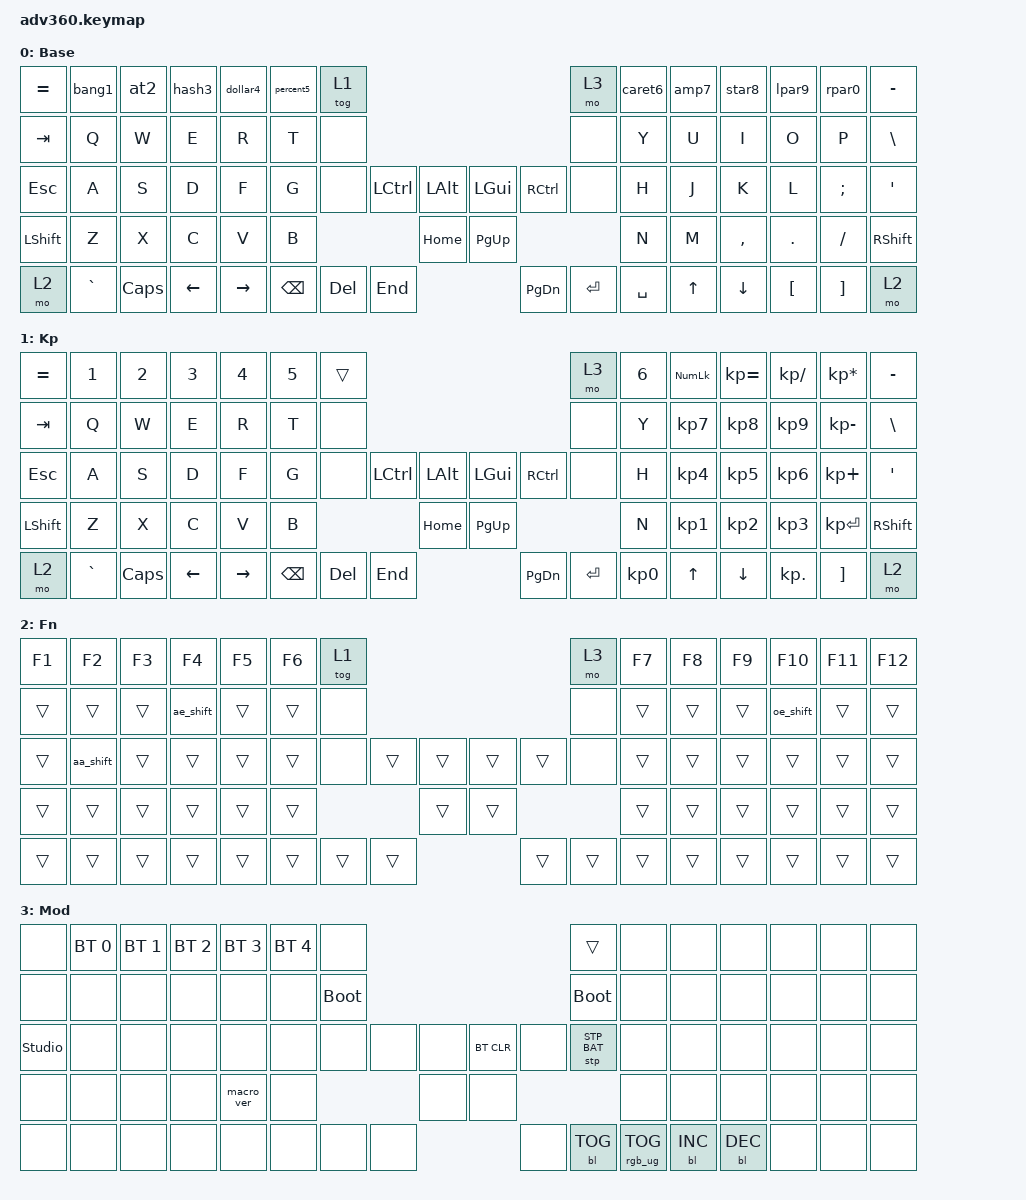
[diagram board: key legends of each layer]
#include <behaviors.dtsi>
#include "unicode.dtsi"
#include <dt-bindings/zmk/keys.h>
#include <dt-bindings/zmk/bt.h>
#include <dt-bindings/zmk/rgb.h>
#include <dt-bindings/zmk/stp.h>
#include <dt-bindings/zmk/backlight.h>
#include <dt-bindings/zmk/pointing.h>

/ {

    behaviors {
      #include "macros.dtsi"
      #include "version.dtsi"

      hm: homerow_mods {
          compatible = "zmk,behavior-hold-tap";
          label = "HOMEROW_MODS";
          #binding-cells = <2>;
          tapping-term-ms = <200>;
          quick_tap_ms = <175>;
          flavor = "tap-preferred";
          bindings = <&kp>, <&kp>;
      };
    // --- Number row reversed ---
    bang1: bang1 {
      compatible = "zmk,behavior-mod-morph";
      #binding-cells = <0>;
      bindings = <&kp EXCL>, <&kp N1>;
      mods = <(MOD_LSFT | MOD_RSFT)>;
    };
    at2: at2 {
      compatible = "zmk,behavior-mod-morph";
      #binding-cells = <0>;
      bindings = <&kp AT>, <&kp N2>;
      mods = <(MOD_LSFT | MOD_RSFT)>;
    };
    hash3: hash3 {
      compatible = "zmk,behavior-mod-morph";
      #binding-cells = <0>;
      bindings = <&kp HASH>, <&kp N3>;
      mods = <(MOD_LSFT | MOD_RSFT)>;
    };
    dollar4: dollar4 {
      compatible = "zmk,behavior-mod-morph";
      #binding-cells = <0>;
      bindings = <&kp DLLR>, <&kp N4>;
      mods = <(MOD_LSFT | MOD_RSFT)>;
    };
    percent5: percent5 {
      compatible = "zmk,behavior-mod-morph";
      #binding-cells = <0>;
      bindings = <&kp PRCNT>, <&kp N5>;
      mods = <(MOD_LSFT | MOD_RSFT)>;
    };
    caret6: caret6 {
      compatible = "zmk,behavior-mod-morph";
      #binding-cells = <0>;
      bindings = <&kp CARET>, <&kp N6>;
      mods = <(MOD_LSFT | MOD_RSFT)>;
    };
    amp7: amp7 {
      compatible = "zmk,behavior-mod-morph";
      #binding-cells = <0>;
      bindings = <&kp AMPS>, <&kp N7>;
      mods = <(MOD_LSFT | MOD_RSFT)>;
    };
    star8: star8 {
      compatible = "zmk,behavior-mod-morph";
      #binding-cells = <0>;
      bindings = <&kp ASTRK>, <&kp N8>;
      mods = <(MOD_LSFT | MOD_RSFT)>;
    };
    lpar9: lpar9 {
      compatible = "zmk,behavior-mod-morph";
      #binding-cells = <0>;
      bindings = <&kp LPAR>, <&kp N9>;
      mods = <(MOD_LSFT | MOD_RSFT)>;
    };
    rpar0: rpar0 {
      compatible = "zmk,behavior-mod-morph";
      #binding-cells = <0>;
      bindings = <&kp RPAR>, <&kp N0>;
      mods = <(MOD_LSFT | MOD_RSFT)>;
    };
// Lowercase Macros
ae_macro_combined: ae_macro_combined {
    compatible = "zmk,behavior-macro";
    #binding-cells = <0>;
    bindings = <&macro_press &kp LALT>, <&macro_wait_time 5>,
               <&macro_tap &kp KP_N0 &kp KP_N2 &kp KP_N3 &kp KP_N0>,
               <&macro_wait_time 5>, <&macro_release &kp LALT>;
};
oe_macro_combined: oe_macro_combined {
    compatible = "zmk,behavior-macro";
    #binding-cells = <0>;
    bindings = <&macro_press &kp LALT>, <&macro_wait_time 5>,
               <&macro_tap &kp KP_N0 &kp KP_N2 &kp KP_N4 &kp KP_N8>,
               <&macro_wait_time 5>, <&macro_release &kp LALT>;
};
aa_macro_combined: aa_macro_combined {
    compatible = "zmk,behavior-macro";
    #binding-cells = <0>;
    bindings = <&macro_press &kp LALT>, <&macro_wait_time 5>,
               <&macro_tap &kp KP_N0 &kp KP_N2 &kp KP_N2 &kp KP_N9>,
               <&macro_wait_time 5>, <&macro_release &kp LALT>;
};
// Uppercase Macros
ae_upper_macro_combined: ae_upper_macro_combined {
    compatible = "zmk,behavior-macro";
    #binding-cells = <0>;
    bindings = <&macro_press &kp LALT>, <&macro_wait_time 5>,
               <&macro_tap &kp KP_N0 &kp KP_N1 &kp KP_N9 &kp KP_N8>,
               <&macro_wait_time 5>, <&macro_release &kp LALT>;
};
oe_upper_macro_combined: oe_upper_macro_combined {
    compatible = "zmk,behavior-macro";
    #binding-cells = <0>;
    bindings = <&macro_press &kp LALT>, <&macro_wait_time 5>,
               <&macro_tap &kp KP_N0 &kp KP_N2 &kp KP_N1 &kp KP_N6>,
               <&macro_wait_time 5>, <&macro_release &kp LALT>;
};
aa_upper_macro_combined: aa_upper_macro_combined {
    compatible = "zmk,behavior-macro";
    #binding-cells = <0>;
    bindings = <&macro_press &kp LALT>, <&macro_wait_time 5>,
               <&macro_tap &kp KP_N0 &kp KP_N1 &kp KP_N9 &kp KP_N7>,
               <&macro_wait_time 5>, <&macro_release &kp LALT>;
};
// --- Mod-Morph behaviors to handle Shift for Danish letters ---
ae_shift: ae_shift {
    compatible = "zmk,behavior-mod-morph";
    #binding-cells = <0>;
    bindings = <&ae_macro_combined>, <&ae_upper_macro_combined>;
    mods = <(MOD_LSFT|MOD_RSFT)>;
};
oe_shift: oe_shift {
    compatible = "zmk,behavior-mod-morph";
    #binding-cells = <0>;
    bindings = <&oe_macro_combined>, <&oe_upper_macro_combined>;
    mods = <(MOD_LSFT|MOD_RSFT)>;
};
aa_shift: aa_shift {
    compatible = "zmk,behavior-mod-morph";
    #binding-cells = <0>;
    bindings = <&aa_macro_combined>, <&aa_upper_macro_combined>;
    mods = <(MOD_LSFT|MOD_RSFT)>;
};

};

  keymap {
    compatible = "zmk,keymap";

    default_layer {
      display-name = "Base";
      bindings = <
        &kp EQUAL &bang1    &at2     &hash3   &dollar4   &percent5 &tog 1                                                        &mo 3 &caret6 &amp7 &star8    &lpar9   &rpar0   &kp MINUS
        &kp TAB   &kp Q     &kp W    &kp E    &kp R      &kp T  &none                                                            &none &kp Y  &kp U  &kp I     &kp O    &kp P    &kp BSLH
        &kp ESC   &kp A     &kp S    &kp D    &kp F      &kp G  &none           &kp LCTRL &kp LALT &kp LGUI  &kp RCTRL           &none &kp H  &kp J  &kp K     &kp L    &kp SEMI &kp SQT
        &kp LSHFT &kp Z     &kp X    &kp C    &kp V      &kp B                            &kp HOME &kp PG_UP                           &kp N  &kp M  &kp COMMA &kp DOT  &kp FSLH &kp RSHFT
        &mo 2     &kp GRAVE &kp CAPS &kp LEFT &kp RIGHT                &kp BSPC &kp DEL   &kp END  &kp PG_DN &kp ENTER &kp SPACE              &kp UP &kp DOWN  &kp LBKT &kp RBKT &mo 2
      >;
    };
    keypad {
      display-name = "Kp";
      bindings = <
        &kp EQUAL &kp N1    &kp N2   &kp N3   &kp N4     &kp N5 &trans                                                           &mo 3 &kp N6 &kp KP_NUM &kp KP_EQUAL &kp KP_DIVIDE &kp KP_MULTIPLY &kp MINUS
        &kp TAB   &kp Q     &kp W    &kp E    &kp R      &kp T  &none                                                            &none &kp Y  &kp KP_N7  &kp KP_N8    &kp KP_N9     &kp KP_MINUS    &kp BSLH
        &kp ESC   &kp A     &kp S    &kp D    &kp F      &kp G  &none           &kp LCTRL &kp LALT &kp LGUI  &kp RCTRL           &none &kp H  &kp KP_N4  &kp KP_N5    &kp KP_N6     &kp KP_PLUS     &kp SQT
        &kp LSHFT &kp Z     &kp X    &kp C    &kp V      &kp B                            &kp HOME &kp PG_UP                           &kp N  &kp KP_N1  &kp KP_N2    &kp KP_N3     &kp KP_ENTER    &kp RSHFT
        &mo 2     &kp GRAVE &kp CAPS &kp LEFT &kp RIGHT                &kp BSPC &kp DEL   &kp END  &kp PG_DN &kp ENTER &kp KP_N0              &kp UP     &kp DOWN     &kp KP_DOT    &kp RBKT        &mo 2
      >;
    };
    fn {
      display-name = "Fn";
      bindings = <
        &kp F1 &kp F2 &kp F3 &kp F4 &kp F5 &kp F6 &tog 1                                           &mo 3 &kp F7 &kp F8 &kp F9 &kp F10 &kp F11 &kp F12
        &trans &trans &trans &ae_shift &trans &trans  &none                                           &none &trans &trans &trans &oe_shift  &trans  &trans
        &trans &aa_shift &trans &trans &trans &trans  &none        &trans &trans &trans &trans        &none &trans &trans &trans &trans  &trans  &trans
        &trans &trans &trans &trans &trans &trans                      &trans &trans                     &trans &trans &trans &trans  &trans  &trans
        &trans &trans &trans &trans &trans               &trans &trans &trans &trans &trans &trans              &trans &trans &trans  &trans  &trans
      >;
    };
    mod {
      display-name = "Mod";
      bindings = <
        &none &bt BT_SEL 0 &bt BT_SEL 1 &bt BT_SEL 2 &bt BT_SEL 3 &bt BT_SEL 4 &none                                                                     &trans                 &none        &none        &none        &none &none &none
        &none &none        &none        &none        &none        &none        &bootloader                                                               &bootloader            &none        &none        &none        &none &none &none
        &studio_unlock &none        &none        &none        &none        &none        &none                   &none &none &bt BT_CLR &none                      &stp STP_BAT &none        &none        &none        &none &none &none
        &none &none        &none        &none        &macro_ver   &none                                      &none &none                                                        &none        &none        &none        &none &none &none
        &none &none        &none        &none        &none                                       &none &none &none &none      &bl BL_TOG &rgb_ug RGB_TOG                                     &bl BL_INC   &bl BL_DEC   &none &none &none
      >;
    };
    extra1 { 
      display-name = "Red";    
      status = "reserved";
    };

    extra2 { 
      display-name = "Purple";    
      status = "reserved";
    };

    extra3 { 
      display-name = "Cyan";    
      status = "reserved";
    };

    extra4 { 
      display-name = "Yellow";    
      status = "reserved";
    };
  };
};
